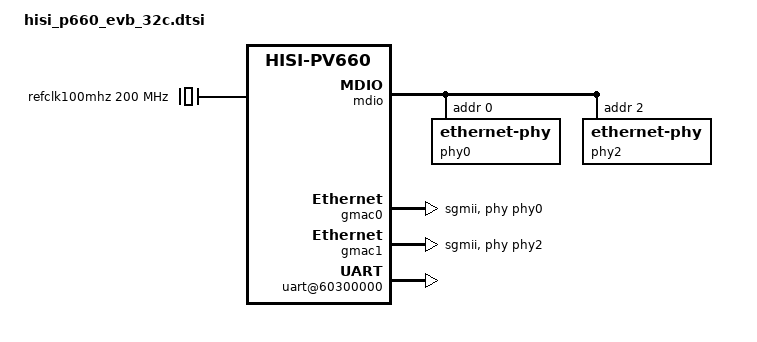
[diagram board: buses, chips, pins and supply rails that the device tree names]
/**
 * dts file for Hisilicon PhosphorV660 32core Soc
 *
 * Copyright (C) 2014, Hisilicon Ltd.
 *
 * This program is free software; you can redistribute it and/or modify
 * it under the terms of the GNU General Public License version 2 as
 * publishhed by the Free Software Foundation.
 *
 */

/ {
	#address-cells = <2>;
	#size-cells = <2>;
	compatible = "hisilicon,hip05-D02", "hisilicon,hisi-pv660";
	interrupt-parent = <&gic>;

	cpus {
		#address-cells = <1>;
		#size-cells = <0>;

		cpu@10000 {
			device_type = "cpu";
			compatible = "arm,armv8";
			reg = <0x10000>;
			enable-method = "spin-table";
			cpu-release-addr = <0x0 0xfff8>;
		};

		cpu@10001 {
			device_type = "cpu";
			compatible = "arm,armv8";
			reg = <0x10001>;
			enable-method = "spin-table";
			cpu-release-addr = <0x0 0xfff8>;
		};

		cpu@10002 {
			device_type = "cpu";
			compatible = "arm,armv8";
			reg = <0x10002>;
			enable-method = "spin-table";
			cpu-release-addr = <0x0 0xfff8>;
		};

		cpu@10003 {
			device_type = "cpu";
			compatible = "arm,armv8";
			reg = <0x10003>;
			enable-method = "spin-table";
			cpu-release-addr = <0x0 0xfff8>;
		};

		cpu@10100 {
			device_type = "cpu";
			compatible = "arm,armv8";
			reg = <0x10100>;
			enable-method = "spin-table";
			cpu-release-addr = <0x0 0xfff8>;
		};

		cpu@10101 {
			device_type = "cpu";
			compatible = "arm,armv8";
			reg = <0x10101>;
			enable-method = "spin-table";
			cpu-release-addr = <0x0 0xfff8>;
		};

		cpu@10102 {
			device_type = "cpu";
			compatible = "arm,armv8";
			reg = <0x10102>;
			enable-method = "spin-table";
			cpu-release-addr = <0x0 0xfff8>;
		};

		cpu@10103 {
			device_type = "cpu";
			compatible = "arm,armv8";
			reg = <0x10103>;
			enable-method = "spin-table";
			cpu-release-addr = <0x0 0xfff8>;
		};

		cpu@10200 {
			device_type = "cpu";
			compatible = "arm,armv8";
			reg = <0x10200>;
			enable-method = "spin-table";
			cpu-release-addr = <0x0 0xfff8>;
		};

		cpu@10201 {
			device_type = "cpu";
			compatible = "arm,armv8";
			reg = <0x10201>;
			enable-method = "spin-table";
			cpu-release-addr = <0x0 0xfff8>;
		};

		cpu@10202 {
			device_type = "cpu";
			compatible = "arm,armv8";
			reg = <0x10202>;
			enable-method = "spin-table";
			cpu-release-addr = <0x0 0xfff8>;
		};

		cpu@10203 {
			device_type = "cpu";
			compatible = "arm,armv8";
			reg = <0x10203>;
			enable-method = "spin-table";
			cpu-release-addr = <0x0 0xfff8>;
		};

		cpu@10300 {
			device_type = "cpu";
			compatible = "arm,armv8";
			reg = <0x10300>;
			enable-method = "spin-table";
			cpu-release-addr = <0x0 0xfff8>;
		};

		cpu@10301 {
			device_type = "cpu";
			compatible = "arm,armv8";
			reg = <0x10301>;
			enable-method = "spin-table";
			cpu-release-addr = <0x0 0xfff8>;
		};

		cpu@10302 {
			device_type = "cpu";
			compatible = "arm,armv8";
			reg = <0x10302>;
			enable-method = "spin-table";
			cpu-release-addr = <0x0 0xfff8>;
		};

		cpu@10303 {
			device_type = "cpu";
			compatible = "arm,armv8";
			reg = <0x10303>;
			enable-method = "spin-table";
			cpu-release-addr = <0x0 0xfff8>;
		};

		cpu@20000 {
			device_type = "cpu";
			compatible = "arm,armv8";
			reg = <0x20000>;
			enable-method = "spin-table";
			cpu-release-addr = <0x0 0xfff8>;
		};

		cpu@20001 {
			device_type = "cpu";
			compatible = "arm,armv8";
			reg = <0x20001>;
			enable-method = "spin-table";
			cpu-release-addr = <0x0 0xfff8>;
		};

		cpu@20002 {
			device_type = "cpu";
			compatible = "arm,armv8";
			reg = <0x20002>;
			enable-method = "spin-table";
			cpu-release-addr = <0x0 0xfff8>;
		};

		cpu@20003 {
			device_type = "cpu";
			compatible = "arm,armv8";
			reg = <0x20003>;
			enable-method = "spin-table";
			cpu-release-addr = <0x0 0xfff8>;
		};

		cpu@20100 {
			device_type = "cpu";
			compatible = "arm,armv8";
			reg = <0x20100>;
			enable-method = "spin-table";
			cpu-release-addr = <0x0 0xfff8>;
		};

		cpu@20101 {
			device_type = "cpu";
			compatible = "arm,armv8";
			reg = <0x20101>;
			enable-method = "spin-table";
			cpu-release-addr = <0x0 0xfff8>;
		};

		cpu@20102 {
			device_type = "cpu";
			compatible = "arm,armv8";
			reg = <0x20102>;
			enable-method = "spin-table";
			cpu-release-addr = <0x0 0xfff8>;
		};

		cpu@20103 {
			device_type = "cpu";
			compatible = "arm,armv8";
			reg = <0x20103>;
			enable-method = "spin-table";
			cpu-release-addr = <0x0 0xfff8>;
		};

		cpu@20200 {
			device_type = "cpu";
			compatible = "arm,armv8";
			reg = <0x20200>;
			enable-method = "spin-table";
			cpu-release-addr = <0x0 0xfff8>;
		};

		cpu@20201 {
			device_type = "cpu";
			compatible = "arm,armv8";
			reg = <0x20201>;
			enable-method = "spin-table";
			cpu-release-addr = <0x0 0xfff8>;
		};

		cpu@20202 {
			device_type = "cpu";
			compatible = "arm,armv8";
			reg = <0x20202>;
			enable-method = "spin-table";
			cpu-release-addr = <0x0 0xfff8>;
		};

		cpu@20203 {
			device_type = "cpu";
			compatible = "arm,armv8";
			reg = <0x20203>;
			enable-method = "spin-table";
			cpu-release-addr = <0x0 0xfff8>;
		};

		cpu@20300 {
			device_type = "cpu";
			compatible = "arm,armv8";
			reg = <0x20300>;
			enable-method = "spin-table";
			cpu-release-addr = <0x0 0xfff8>;
		};

		cpu@20301 {
			device_type = "cpu";
			compatible = "arm,armv8";
			reg = <0x20301>;
			enable-method = "spin-table";
			cpu-release-addr = <0x0 0xfff8>;
		};

		cpu@20302 {
			device_type = "cpu";
			compatible = "arm,armv8";
			reg = <0x20302>;
			enable-method = "spin-table";
			cpu-release-addr = <0x0 0xfff8>;
		};

		cpu@20303 {
			device_type = "cpu";
			compatible = "arm,armv8";
			reg = <0x20303>;
			enable-method = "spin-table";
			cpu-release-addr = <0x0 0xfff8>;
		};

	};

	gic: interrupt-controller@6d000000 {
		compatible = "hisilicon,gic-v3";
                #interrupt-cells = <3>;
                #address-cells = <2>;
                #size-cells = <2>;
                ranges;
                interrupt-controller;
                #redistributor-regions = <2>;
                redistributor-stride = <0x0 0x30000>;
		reg = <0x0 0x6d000000 0 0x10000>,	/* GICD */
		      <0x0 0x6d100000 0 0x300000>,	/* GICR c */
		      <0x0 0x4d100000 0 0x300000>,	/* GICR a */
		      <0x0 0xfe000000 0 0x10000>;	/* GICC */

		its_pc: interrupt-controller@6c000000 {
			compatible = "arm,gic-v3-its";
			msi-controller;
			reg = <0x0 0x6c000000 0x0 0x1000000>;
		};

		its_pa: interrupt-controller@4c000000 {
			compatible = "arm,gic-v3-its";
			msi-controller;
			reg = <0x0 0x4c000000 0x0 0x1000000>;
		};

		its_dsa: interrupt-controller@c6000000 {
			compatible = "arm,gic-v3-its";
			msi-controller;
			reg = <0x0 0xc6000000 0x0 0x1000000>;
		};

		its_m3: interrupt-controller@a3000000 {
			compatible = "arm,gic-v3-its";
			msi-controller;
			reg = <0x0 0xa3000000 0x0 0x1000000>;
		};
	};

	gic1: interrupt-controller@4d000000 {
		compatible = "hisilicon,gic-v3";
		#interrupt-cells = <3>;
		#address-cells = <2>;
		#size-cells = <2>;
		interrupt-controller;
		reg = <0x0 0x4d000000 0x0 0x10000>;
	};

	smmu_pa@40040000 {
		compatible = "hisilicon,smmu-v1";
		reg = <0x0 0x40040000 0x0 0x1000>;
		#global-interrupts = <1>;
		interrupts = <0 188 4>,
			     <0 188 4>;
		smmu-cb-memtype = <0 1>;
		smmu-bypass-vmid = <0xff>;
	};

	smmu_pc@60040000 {
		compatible = "hisilicon,smmu-v1";
		reg = <0x0 0x60040000 0x0 0x1000>;
		#global-interrupts = <1>;
		interrupts = <0 316 4>,
			     <0 316 4>;
		smmu-cb-memtype = <0 1>;
		smmu-bypass-vmid = <0xff>;
	};

	smmu_dsa@c0040000 {
		compatible = "hisilicon,smmu-v1";
		interrupt-parent = <&mbigen_m3>;
		reg = <0x0 0xc0040000 0x0 0x1000>;
		#global-interrupts = <1>;
		interrupts = <69 4>,
			     <69 4>;
		smmu-cb-memtype = <0 1>;
		smmu-bypass-vmid = <0xff>;
	};

	timer {
		compatible = "arm,armv8-timer";
		interrupts = <1 13 4>,
			     <1 14 4>,
			     <1 11 4>,
			     <1 10 4>;
	};

	pmu {
		compatible = "arm,armv8-pmuv3";
		interrupts = <1 7 4>;
	};

	mdio {
		compatible = "hisilicon, hip05-mdio";
		reg = <0x0 0x603c0000 0x0 0x1000>;
		#address-cells = <0x1>;
		#size-cells = <0x0>;

		phy0: ethernet-phy@0 {
			compatile = "ethernet-phy-ieee802.3-c22";
			reg = <0x0>;
			max-speed = <100>;
		};

		phy2: ethernet-phy@2 {
			compatile = "ethernet-phy-ieee802.3-c22";
			reg = <0x2>;
			max-speed = <100>;
		};
	};

	gmac0: ethernet@c2000000 {
		compatible = "hisilicon, hip05-mac";
		#address-cells = <1>;
		#size-cells = <0>;
		interrupt-parent = <&mbigen_dsa>;
		reg = <0 0xc2000000 0 0x100000>,
		      <0 0xc0000000 0 0x1000>;
		interrupts = <15 1>, /* rx irq */
			     <14 1>; /* tx irq */
		phy-mode = "sgmii";
		mac-address = [11 11 11 11 11 11];
		phy-handle = <&phy0>;
		dma-coherent;
	};

	gmac1: ethernet@c2100000 {
		compatible = "hisilicon, hip05-mac";
		#address-cells = <1>;
		#size-cells = <0>;
		interrupt-parent = <&mbigen_dsa>;
		reg = <0 0xc2100000 0 0x100000>,
		      <0 0xc0000000 0 0x1000>;
		interrupts = <21 1>, /* rx irq */
			     <20 1>; /* tx irq */
		phy-mode = "sgmii";
		mac-address = [11 11 11 11 11 11];
		phy-handle = <&phy2>;
		dma-coherent;
	};

	peripherals {
		compatible = "simple-bus";
		#address-cells = <1>;
		#size-cells = <1>;
		ranges = <0x0 0x00000000 0x0 0xffffffff>;

		refclk100mhz: refclk100mhz {
			compatible = "fixed-clock";
			#clock-cells = <0>;
			clock-frequency = <200000000>;
		};

		mbigen_pa: interrupt-controller@4c030000 {
			compatible = "hisilicon,mbi-gen";
			msi-parent = <&its_pa>;
			interrupt-controller;
			#interrupt-cells = <2>;
			reg = <0x4c030000 0x10000>;
		};

		mbigen_pc: interrupt-controller@6c030000 {
			compatible = "hisilicon,mbi-gen";
			msi-parent = <&its_pc>;
			interrupt-controller;
			#interrupt-cells = <2>;
			reg = <0x6c030000 0x10000>;
		};

		mbigen_dsa: interrupt-controller@c6030000 {
			compatible = "hisilicon,mbi-gen";
			msi-parent = <&its_dsa>;
			interrupt-controller;
			#interrupt-cells = <2>;
			reg = <0xc6030000 0x10000>;
		};

		mbigen_m3: interrupt-controller@a3030000 {
			compatible = "hisilicon,mbi-gen";
			msi-parent = <&its_m3>;
			interrupt-controller;
			#interrupt-cells = <2>;
			reg = <0xa3030000 0x10000>;
		};

		uart@60300000 {
			compatible = "snps,dw-apb-uart";
			reg = <0x60300000 0x10000>;
			interrupts = <0 317 4>;
			clocks = <&refclk100mhz>;
			clock-names = "apb_pclk";
			reg-shift = <2>;
		};
	};
};
